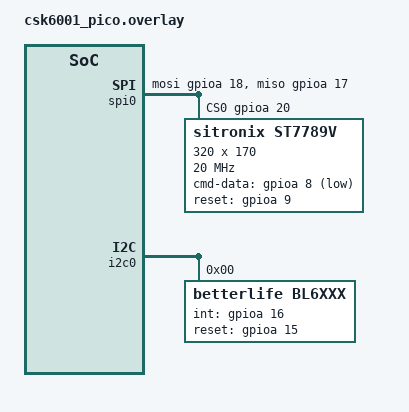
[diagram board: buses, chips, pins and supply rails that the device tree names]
&spi0 {
    status = "okay";
    miso-gpios = <&gpioa 17 0>;
    mosi-gpios = <&gpioa 18 0>;
    sclk-gpios = <&gpioa 19 0>;
    cs-gpios = <&gpioa 20 0>;

	st7789v@0 {
            compatible = "sitronix,st7789v";
            label = "ST7789V";
            status = "okay";
            spi-max-frequency = <20000000>;
            reg = <0>;
            cmd-data-gpios = <&gpioa 8 1>;
            reset-gpios = <&gpioa 9 0>;
            width = <320>;
            height = <170>;
            x-offset = <0>;
            y-offset = <35>;
            // reg:0xBB
            vcom = <0x1e>;
            // reg:0xB7
            gctrl = <0x35>;
            // reg:0xC3
            vrhs = <0x0b>;
            // reg:0xC4
            vdvs = <0x20>;
            // reg:0x36
            mdac = <0xA3>;
            // reg:0x26
            gamma = <0x01>;
            // reg:0x3a
            colmod = <0x05>;
            // reg:0xc0
            lcm = <0x2c>;
            // reg:0xb2
            porch-param = [0c 0c 00 33 33];
            // reg:0xDF
            cmd2en-param = [5a 69 02 01];
            // reg:0xD0
            pwctrl1-param = [a4 a1];
            // reg:0xE0
            pvgam-param = [d0 06 0b 07 07 24 2e 32 46 37 13 13 2d 33];
            // reg:0xE1
            nvgam-param = [d0 02 06 09 08 05 29 44 42 38 14 14 2a 30];
            // reg:b0
            ram-param = [00 F0];
            // reg:b1
            rgb-param = [CD 08 14];
	};
};

&i2c0 {
        status = "okay";
        pinmuxs = <&pinmuxa 4 8>, <&pinmuxa 5 8>;
        pinmux-names = "SCL", "SDA";

        bl6xxx@0 {
                compatible = "betterlife,bl6xxx";
                reg = <0>;
                label = "BL6XXX";
                status = "okay";
                int-gpios = <&gpioa 16 0>;
                reset-gpios = <&gpioa 15 0>;
        };
};

&i2c1 {
    status = "disabled";
};
